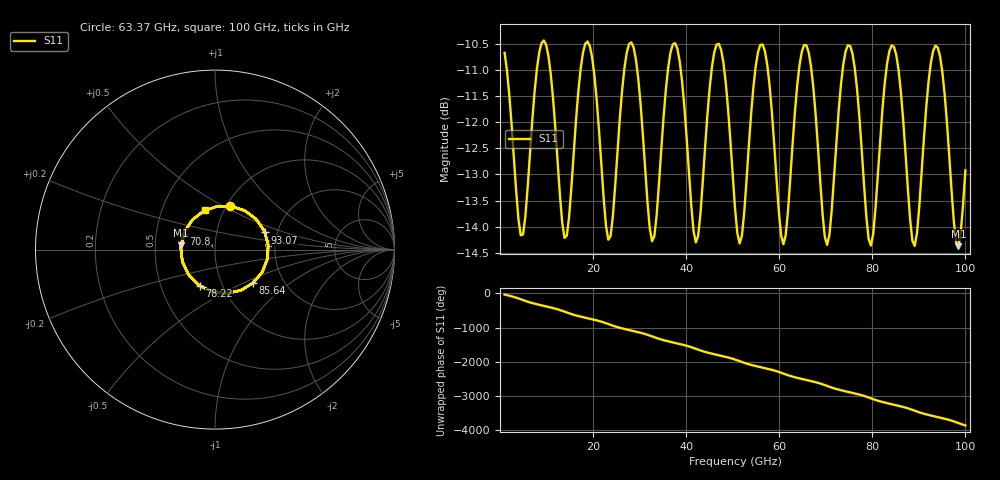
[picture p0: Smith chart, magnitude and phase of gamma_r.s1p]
!Created with skrf (http://scikit-rf.org).
# GHz S RI R 50.0
!freq ReS11 ImS11
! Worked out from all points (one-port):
!   201 points, 1 GHz to 100 GHz, reference 50 ohm
!   lowest |S11| = -14.4 dB at 98.52 GHz (marker M1), VSWR 1.47, Z = 34 + j1.73 ohm
!   |S11| at or under -10 dB: start of sweep to end of sweep
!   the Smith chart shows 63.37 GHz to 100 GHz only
!   S11 on the Smith chart (normalised r, x): 63.37 GHz: 1.03, +0.54; 70.8 GHz: 0.69, +0.13; 78.22 GHz: 0.78, -0.33; 85.64 GHz: 1.40, -0.57; 93.07 GHz: 1.72, +0.36; 100 GHz: 0.82, +0.38
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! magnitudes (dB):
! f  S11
! 1 GHz  -10.7
! 4.465 GHz  -14.2
! 9.415 GHz  -10.4
! 13.38 GHz  -13.9
! 18.32 GHz  -10.5
! 23.27 GHz  -14.2
! 25.75 GHz  -11.9
! 28.72 GHz  -10.6
! 32.68 GHz  -14.3
! 38.12 GHz  -10.6
! 42.09 GHz  -14.3
! 46.54 GHz  -10.5
! 50.5 GHz  -13.6
! 55.95 GHz  -10.5
! 60.9 GHz  -14.3
! 62.88 GHz  -12.4
! 63.37 GHz  -11.8
! 66.34 GHz  -10.7
! 70.8 GHz  -14.2
! 75.25 GHz  -10.5
! 78.22 GHz  -13.2
! 79.7 GHz  -14.4
! 85.64 GHz  -11.0
! 87.62 GHz  -13.3
! 89.11 GHz  -14.4
! 93.07 GHz  -10.6
! 98.52 GHz  -14.4
! 100 GHz  -12.9
